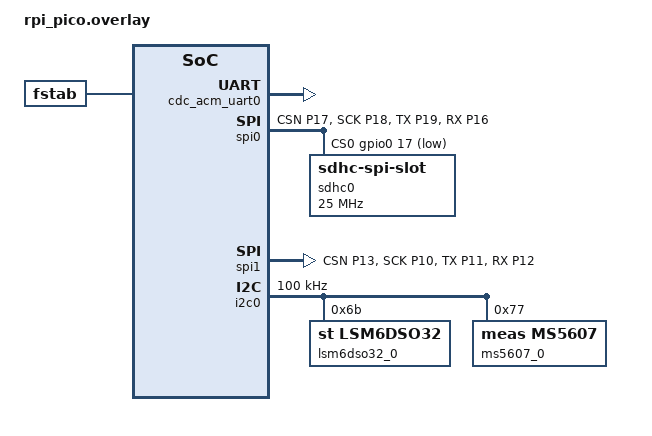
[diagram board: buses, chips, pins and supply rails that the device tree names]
/*
 * Copyright (c) 2025 Auxspace e.V.
 * SPDX-License-Identifier: Apache-2.0
 */

/ {
	chosen {
		/* Console */
		zephyr,console = &cdc_acm_uart0;

		/* Sensors */
		auxspace,baro = &ms5607_0;
		auxspace,imu = &lsm6dso32_0;

		/* Storage */
		auxspace,mmc = &mmc0;
		auxspace,ffs = &ffs0;
	};

	fstab {
		compatible = "zephyr,fstab";
		ffs0: ffs0 {
			compatible = "zephyr,fstab,fatfs";
			automount;
			disk-access;
			mount-point = "/MMC:";
		};
	};
};

&zephyr_udc0 {
	cdc_acm_uart0: cdc_acm_uart0 {
		compatible = "zephyr,cdc-acm-uart";
		label = "CDC_ACM_0";
	};
};

&pinctrl {
	spi0_default: spi0_default {
		group1 {
			pinmux = <SPI0_CSN_P17>, <SPI0_SCK_P18>, <SPI0_TX_P19>;
		};
		group2 {
			pinmux = <SPI0_RX_P16>;
			input-enable;
		};
	};

	spi1_default: spi1_default {
		group1 {
			pinmux = <SPI1_CSN_P13>, <SPI1_SCK_P10>, <SPI1_TX_P11>;
		};
		group2 {
			pinmux = <SPI1_RX_P12>;
			input-enable;
		};
	};

	i2c0_default: i2c0_default {
		group1 {
			pinmux = <I2C0_SDA_P28>, <I2C0_SCL_P29>;
			input-enable;
			input-schmitt-enable;
		};
	};
};

&spi0 {
	status = "okay";
	cs-gpios = <&gpio0 17 GPIO_ACTIVE_LOW>;

	pinctrl-0 = <&spi0_default>;
	pinctrl-names = "default";

	sdhc0: sdhc@0 {
		compatible = "zephyr,sdhc-spi-slot";
		reg = <0>;
		status = "okay";
		mmc0: mmc {
			compatible = "zephyr,sdmmc-disk";
			disk-name = "MMC";
			status = "okay";
		};
		spi-max-frequency = <25000000>;
	};
};

&spi1 {
	status = "okay";
	cs-gpios = <&gpio0 13 GPIO_ACTIVE_LOW>;
	pinctrl-0 = <&spi1_default>;
	pinctrl-names = "default";
};

&i2c0 {
	status = "okay";
	clock-frequency = <I2C_BITRATE_STANDARD>;
	pinctrl-0 = <&i2c0_default>;
	pinctrl-names = "default";

	lsm6dso32_0: lsm6dso32@6b {
		compatible = "st,lsm6dso32";
		reg = <0x6b>;
		status = "okay";
	};

	ms5607_0: ms5607@77 {
		compatible = "meas,ms5607";
		reg = <0x77>;
		status = "okay";
	};
};

&gpio0 {
	status = "okay";
};
